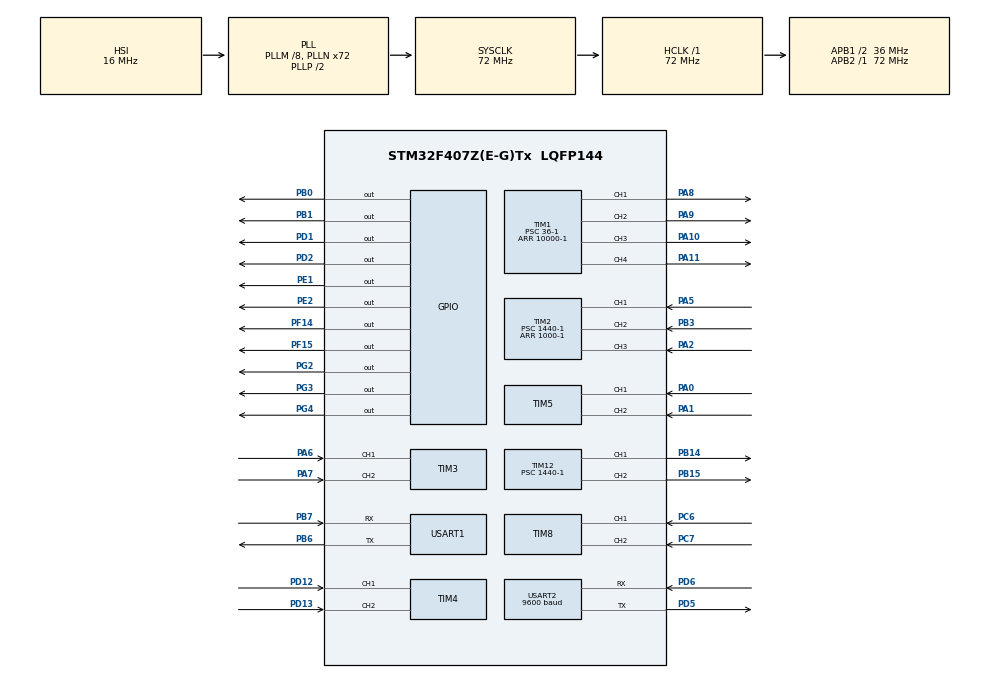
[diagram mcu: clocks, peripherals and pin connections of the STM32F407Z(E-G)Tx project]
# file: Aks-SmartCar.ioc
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Dma.Request0=USART1_RX
Dma.Request1=USART1_TX
Dma.Request2=USART2_RX
Dma.Request3=USART2_TX
Dma.USART1_RX.0.Direction=DMA_PERIPH_TO_MEMORY
Dma.USART1_RX.0.FIFOMode=DMA_FIFOMODE_DISABLE
Dma.USART1_RX.0.Instance=DMA2_Stream2
Dma.USART1_RX.0.MemDataAlignment=DMA_MDATAALIGN_BYTE
Dma.USART1_RX.0.MemInc=DMA_MINC_ENABLE
Dma.USART1_RX.0.Mode=DMA_NORMAL
Dma.USART1_RX.0.PeriphDataAlignment=DMA_PDATAALIGN_BYTE
Dma.USART1_RX.0.PeriphInc=DMA_PINC_DISABLE
Dma.USART1_RX.0.Priority=DMA_PRIORITY_LOW
Dma.USART1_TX.1.Direction=DMA_MEMORY_TO_PERIPH
Dma.USART1_TX.1.FIFOMode=DMA_FIFOMODE_DISABLE
Dma.USART1_TX.1.Instance=DMA2_Stream7
Dma.USART1_TX.1.MemDataAlignment=DMA_MDATAALIGN_BYTE
Dma.USART1_TX.1.MemInc=DMA_MINC_ENABLE
Dma.USART1_TX.1.Mode=DMA_NORMAL
Dma.USART1_TX.1.PeriphDataAlignment=DMA_PDATAALIGN_BYTE
Dma.USART1_TX.1.PeriphInc=DMA_PINC_DISABLE
Dma.USART1_TX.1.Priority=DMA_PRIORITY_LOW
Dma.USART2_RX.2.Direction=DMA_PERIPH_TO_MEMORY
Dma.USART2_RX.2.FIFOMode=DMA_FIFOMODE_DISABLE
Dma.USART2_RX.2.Instance=DMA1_Stream5
Dma.USART2_RX.2.MemDataAlignment=DMA_MDATAALIGN_BYTE
Dma.USART2_RX.2.MemInc=DMA_MINC_ENABLE
Dma.USART2_RX.2.Mode=DMA_NORMAL
Dma.USART2_RX.2.PeriphDataAlignment=DMA_PDATAALIGN_BYTE
Dma.USART2_RX.2.PeriphInc=DMA_PINC_DISABLE
Dma.USART2_RX.2.Priority=DMA_PRIORITY_LOW
Dma.USART2_TX.3.Direction=DMA_MEMORY_TO_PERIPH
Dma.USART2_TX.3.FIFOMode=DMA_FIFOMODE_DISABLE
Dma.USART2_TX.3.Instance=DMA1_Stream6
Dma.USART2_TX.3.MemDataAlignment=DMA_MDATAALIGN_BYTE
Dma.USART2_TX.3.MemInc=DMA_MINC_ENABLE
Dma.USART2_TX.3.Mode=DMA_NORMAL
Dma.USART2_TX.3.PeriphDataAlignment=DMA_PDATAALIGN_BYTE
Dma.USART2_TX.3.PeriphInc=DMA_PINC_DISABLE
Dma.USART2_TX.3.Priority=DMA_PRIORITY_LOW
Mcu.Family=STM32F4
Mcu.Name=STM32F407Z(E-G)Tx
Mcu.Package=LQFP144
NVIC.DMA1_Stream5_IRQn=true\:7\:0\:true\:false\:true\:false\:true\:true
NVIC.DMA1_Stream6_IRQn=true\:7\:0\:true\:false\:true\:false\:true\:true
NVIC.DMA2_Stream2_IRQn=true\:0\:0\:false\:false\:true\:false\:true\:true
NVIC.DMA2_Stream7_IRQn=true\:0\:0\:false\:false\:true\:false\:true\:true
NVIC.PriorityGroup=NVIC_PRIORITYGROUP_4
NVIC.TIM3_IRQn=true\:0\:0\:false\:false\:true\:true\:true\:true
NVIC.TIM7_IRQn=true\:1\:0\:true\:false\:true\:true\:true\:true
NVIC.USART1_IRQn=true\:0\:0\:false\:false\:true\:true\:true\:true
NVIC.USART2_IRQn=true\:7\:0\:true\:false\:true\:true\:true\:true
PA0-WKUP.Signal=S_TIM5_CH1
PA1.Signal=S_TIM5_CH2
PA10.Signal=S_TIM1_CH3
PA11.Signal=S_TIM1_CH4
PA13.Mode=Serial_Wire
PA13.Signal=SYS_JTMS-SWDIO
PA14.Mode=Serial_Wire
PA14.Signal=SYS_JTCK-SWCLK
PA2.Signal=S_TIM2_CH3
PA5.Signal=S_TIM2_CH1_ETR
PA6.Signal=S_TIM3_CH1
PA7.Signal=S_TIM3_CH2
PA8.Signal=S_TIM1_CH1
PA9.Signal=S_TIM1_CH2
PB0.Signal=GPIO_Output
PB1.Signal=GPIO_Output
PB14.Signal=S_TIM12_CH1
PB15.Signal=S_TIM12_CH2
PB3.Signal=S_TIM2_CH2
PB6.Mode=Asynchronous
PB6.Signal=USART1_TX
PB7.Mode=Asynchronous
PB7.Signal=USART1_RX
PC14-OSC32_IN.Mode=LSE-External-Oscillator
PC14-OSC32_IN.Signal=RCC_OSC32_IN
PC15-OSC32_OUT.Mode=LSE-External-Oscillator
PC15-OSC32_OUT.Signal=RCC_OSC32_OUT
PC6.Signal=S_TIM8_CH1
PC7.Signal=S_TIM8_CH2
PD1.Signal=GPIO_Output
PD12.Signal=S_TIM4_CH1
PD13.Signal=S_TIM4_CH2
PD2.Signal=GPIO_Output
PD5.Mode=Asynchronous
PD5.Signal=USART2_TX
PD6.Mode=Asynchronous
PD6.Signal=USART2_RX
PE1.Signal=GPIO_Output
PE2.Signal=GPIO_Output
PF14.Signal=GPIO_Output
PF15.Signal=GPIO_Output
PG2.Signal=GPIO_Output
PG3.Signal=GPIO_Output
PG4.Signal=GPIO_Output
PH0-OSC_IN.Mode=HSE-External-Oscillator
PH0-OSC_IN.Signal=RCC_OSC_IN
PH1-OSC_OUT.Mode=HSE-External-Oscillator
PH1-OSC_OUT.Signal=RCC_OSC_OUT
ProjectManager.HeapSize=0x200
ProjectManager.StackSize=0x400
ProjectManager.TargetToolchain=CMake
RCC.48MHZClocksFreq_Value=36000000
RCC.AHBFreq_Value=72000000
RCC.APB1CLKDivider=RCC_HCLK_DIV2
RCC.APB1Freq_Value=36000000
RCC.APB1TimFreq_Value=72000000
RCC.APB2Freq_Value=72000000
RCC.APB2TimFreq_Value=72000000
RCC.CortexFreq_Value=72000000
RCC.HCLKFreq_Value=72000000
RCC.HSE_VALUE=25000000
RCC.HSI_VALUE=16000000
RCC.PLLM=8
RCC.PLLN=72
RCC.SYSCLKFreq_VALUE=72000000
RCC.SYSCLKSource=RCC_SYSCLKSOURCE_PLLCLK
RCC.VCOOutputFreq_Value=144000000
SH.S_TIM12_CH1.0=TIM12_CH1,PWM Generation1 CH1
SH.S_TIM12_CH2.0=TIM12_CH2,PWM Generation2 CH2
SH.S_TIM1_CH1.0=TIM1_CH1,PWM Generation1 CH1
SH.S_TIM1_CH2.0=TIM1_CH2,PWM Generation2 CH2
SH.S_TIM1_CH3.0=TIM1_CH3,PWM Generation3 CH3
SH.S_TIM1_CH4.0=TIM1_CH4,PWM Generation4 CH4
SH.S_TIM2_CH1_ETR.0=TIM2_CH1,Input_Capture1_from_TI1
SH.S_TIM2_CH2.0=TIM2_CH2,Input_Capture2_from_TI2
SH.S_TIM2_CH3.0=TIM2_CH3,Input_Capture3_from_TI3
SH.S_TIM3_CH1.0=TIM3_CH1,Encoder_Interface
SH.S_TIM3_CH2.0=TIM3_CH2,Encoder_Interface
SH.S_TIM4_CH1.0=TIM4_CH1,Encoder_Interface
SH.S_TIM4_CH2.0=TIM4_CH2,Encoder_Interface
SH.S_TIM5_CH1.0=TIM5_CH1,Encoder_Interface
SH.S_TIM5_CH2.0=TIM5_CH2,Encoder_Interface
SH.S_TIM8_CH1.0=TIM8_CH1,Encoder_Interface
SH.S_TIM8_CH2.0=TIM8_CH2,Encoder_Interface
TIM1.Channel-PWM\ Generation1\ CH1=TIM_CHANNEL_1
TIM1.Channel-PWM\ Generation2\ CH2=TIM_CHANNEL_2
TIM1.Channel-PWM\ Generation3\ CH3=TIM_CHANNEL_3
TIM1.Channel-PWM\ Generation4\ CH4=TIM_CHANNEL_4
TIM1.Period=10000-1
TIM1.Prescaler=36-1
TIM12.Channel-PWM\ Generation1\ CH1=TIM_CHANNEL_1
TIM12.Channel-PWM\ Generation2\ CH2=TIM_CHANNEL_2
TIM12.Period=1000-1
TIM12.Prescaler=1440-1
TIM2.Channel-Input_Capture1_from_TI1=TIM_CHANNEL_1
TIM2.Channel-Input_Capture2_from_TI2=TIM_CHANNEL_2
TIM2.Channel-Input_Capture3_from_TI3=TIM_CHANNEL_3
TIM2.Period=1000-1
TIM2.Prescaler=1440-1
TIM3.EncoderMode=TIM_ENCODERMODE_TI12
TIM4.EncoderMode=TIM_ENCODERMODE_TI12
TIM5.EncoderMode=TIM_ENCODERMODE_TI12
TIM7.Period=10000-1
TIM7.Prescaler=360-1
TIM8.EncoderMode=TIM_ENCODERMODE_TI12
USART1.VirtualMode=VM_ASYNC
USART2.BaudRate=9600
USART2.VirtualMode=VM_ASYNC
VP_TIM1_VS_ClockSourceINT.Mode=Internal
VP_TIM2_VS_ClockSourceINT.Mode=Internal
VP_TIM7_VS_ClockSourceINT.Mode=Enable_Timer
board=custom

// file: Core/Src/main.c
/* USER CODE BEGIN Header */
/**
  ******************************************************************************
  * @file           : main.c
  * @brief          : Main program body
  ******************************************************************************
  * @attention
  *
  * Copyright (c) 2025 STMicroelectronics.
  * All rights reserved.
  *
  * This software is licensed under terms that can be found in the LICENSE file
  * in the root directory of this software component.
  * If no LICENSE file comes with this software, it is provided AS-IS.
  *
  ******************************************************************************
  */
/* USER CODE END Header */
#include "main.h"
#include "dma.h"
#include "tim.h"
#include "usart.h"
#include "gpio.h"

/* USER CODE BEGIN Includes */
#include <string.h>

#include "sonic.h"
# include "motor.h"
# include "servo.h"
# include "blue.h"
# include "control.h"
# include "fuzzy_control.h"

// TODO:终极目标是主函数中仅仅引入状态机，仅需要每20ms更新一次状态机即可
# include "state_machine.h"
/* USER CODE END Includes */

/* USER CODE BEGIN PV */
float left_front_target, right_front_target, left_back_target, right_back_target;
float left_front_speed, right_front_speed, left_back_speed, right_back_speed;
float left_back_feedback, right_back_feedback, left_front_feedback, right_front_feedback;
float left_back_error, right_back_error, left_front_error, right_front_error;
float x_error, y_error; // 纯跟踪算法的x轴偏差和y轴偏差

// variants used for testing
char msg[1024]; // 用于存储发送到蓝牙的数据
float FLP = 0.03f; // 将输入的偏差值转换为旋转角速度的参数
float LLP = 1.0f; // 将输入的偏差值转换为线速度的参数
char openmv_msg[100], blue_msg[100]; // 用于存储OpenMV和蓝牙消息
char blue_feedback_msg[100]; // 用于反馈信息

// 超声波测距相关变量
uint32_t upEdge = 0; // 存储上升沿时间
uint32_t downEdge = 0; // 存储下降沿时间
float distance = 0; // 计算得到的距离(cm)
uint8_t measurementComplete = 0; // 测量完成标志
uint8_t msg_sonic[5];
uint32_t lastTriggerTime = 0;
const uint32_t triggerInterval = 50; // 触发间隔(ms)

/* USER CODE END PV */

void SystemClock_Config(void);

int main(void) {
    /* USER CODE BEGIN 1 */
    // left_front_target = 200; // 设置前左电机目标速度
    /* USER CODE END 1 */

    /* MCU Configuration--------------------------------------------------------*/

    /* Reset of all peripherals, Initializes the Flash interface and the Systick. */
    HAL_Init();

    /* Configure the system clock */
    SystemClock_Config();

    /* Initialize all configured peripherals */
    MX_GPIO_Init();
    MX_DMA_Init();
    MX_TIM1_Init();
    MX_TIM2_Init();
    MX_TIM3_Init();
    MX_TIM4_Init();
    MX_TIM5_Init();
    MX_TIM12_Init();
    MX_USART1_UART_Init();
    MX_USART2_UART_Init();
    MX_TIM8_Init();
    MX_TIM7_Init();
    /* USER CODE BEGIN 2 */
    // Servo1_Init();
    // Servo2_Init();
    motor_init();

    //PID控制测试用电机
    // left_back_target = 0.0;
    // right_back_target = 0.0;
    // right_front_target = 0.0; // 设置前右电机目标速度
    // left_front_target = 0.0; // 设置前左电机目标速度

    // __HAL_TIM_SetCompare(&htim1, TIM_CHANNEL_1, 5000);
    // __HAL_TIM_SetCompare(&htim1, TIM_CHANNEL_2, 5000);
    // __HAL_TIM_SetCompare(&htim1, TIM_CHANNEL_3, 5000);
    // __HAL_TIM_SetCompare(&htim1, TIM_CHANNEL_4, 5000);

    // 前进
    // HAL_GPIO_WritePin(GPIOF, GPIO_PIN_14, GPIO_PIN_SET); // 设置PD3为高电平
    // HAL_GPIO_WritePin(GPIOF, GPIO_PIN_15, GPIO_PIN_RESET); // 设置PD4为低电平
    // HAL_GPIO_WritePin(GPIOD, GPIO_PIN_1, GPIO_PIN_SET); // 设置PD1为高电平
    // HAL_GPIO_WritePin(GPIOD, GPIO_PIN_2, GPIO_PIN_RESET); // 设置PD2为低电平
    // HAL_GPIO_WritePin(GPIOB, GPIO_PIN_0, GPIO_PIN_SET); // 设置PE3为高电平
    // HAL_GPIO_WritePin(GPIOB, GPIO_PIN_1, GPIO_PIN_RESET); // 设置PE4为低电平
    // HAL_GPIO_WritePin(GPIOE, GPIO_PIN_1, GPIO_PIN_SET); // 设置PE1为高电平
    // HAL_GPIO_WritePin(GPIOE, GPIO_PIN_2, GPIO_PIN_RESET);

    HAL_UARTEx_ReceiveToIdle_DMA(&huart1, (uint8_t *) openmv_msg, sizeof(openmv_msg));
    HAL_UARTEx_ReceiveToIdle_DMA(&huart2, (uint8_t *) blue_msg, sizeof(blue_msg));
    // motor_vel(600, 600, 600, 600); // 设置初始速度
    /* USER CODE END 2 */

    /* Infinite loop */
    /* USER CODE BEGIN WHILE */
    /* USER CODE END 3 */
    while (1) {
        /* USER CODE END WHILE */

        /* USER CODE BEGIN 3 */
        // motor_brake();
        // move_forward();
        // spin();
        // set_speed(600,0);

        // Servo_catch();
        // Servo_turnUp();
        // Servo_turnDown();
        // Servo_put();
    }
    /* USER CODE END 3 */
}

void SystemClock_Config(void) {
    RCC_OscInitTypeDef RCC_OscInitStruct = {0};
    RCC_ClkInitTypeDef RCC_ClkInitStruct = {0};

    /** Configure the main internal regulator output voltage
    */
    __HAL_RCC_PWR_CLK_ENABLE();
    __HAL_PWR_VOLTAGESCALING_CONFIG(PWR_REGULATOR_VOLTAGE_SCALE1);

    /** Initializes the RCC Oscillators according to the specified parameters
    * in the RCC_OscInitTypeDef structure.
    */
    RCC_OscInitStruct.OscillatorType = RCC_OSCILLATORTYPE_HSI;
    RCC_OscInitStruct.HSIState = RCC_HSI_ON;
    RCC_OscInitStruct.HSICalibrationValue = RCC_HSICALIBRATION_DEFAULT;
    RCC_OscInitStruct.PLL.PLLState = RCC_PLL_ON;
    RCC_OscInitStruct.PLL.PLLSource = RCC_PLLSOURCE_HSI;
    RCC_OscInitStruct.PLL.PLLM = 8;
    RCC_OscInitStruct.PLL.PLLN = 72;
    RCC_OscInitStruct.PLL.PLLP = RCC_PLLP_DIV2;
    RCC_OscInitStruct.PLL.PLLQ = 4;
    if (HAL_RCC_OscConfig(&RCC_OscInitStruct) != HAL_OK) {
        Error_Handler();
    }

    /** Initializes the CPU, AHB and APB buses clocks
    */
    RCC_ClkInitStruct.ClockType = RCC_CLOCKTYPE_HCLK | RCC_CLOCKTYPE_SYSCLK
                                  | RCC_CLOCKTYPE_PCLK1 | RCC_CLOCKTYPE_PCLK2;
    RCC_ClkInitStruct.SYSCLKSource = RCC_SYSCLKSOURCE_PLLCLK;
    RCC_ClkInitStruct.AHBCLKDivider = RCC_SYSCLK_DIV1;
    RCC_ClkInitStruct.APB1CLKDivider = RCC_HCLK_DIV2;
    RCC_ClkInitStruct.APB2CLKDivider = RCC_HCLK_DIV1;

    if (HAL_RCC_ClockConfig(&RCC_ClkInitStruct, FLASH_LATENCY_2) != HAL_OK) {
        Error_Handler();
    }
}

/* USER CODE BEGIN 4 */
void HAL_TIM_PeriodElapsedCallback(TIM_HandleTypeDef *htim) {
    if (htim == &htim7) {
        // 每50ms执行一次,注意如果更改这里,同时需要更改以下几个这个文件
        // motor.h 中的 read_period
        set_speed(x_error, 90);
        // set_speed(30, 30);
        motor_pid_control();

        // left_front_feedback = read_left_front_feedback();
        // right_front_feedback = read_right_front_feedback();
        // left_back_feedback = read_left_back_feedback();
        // right_back_feedback = read_right_back_feedback();
        // sprintf(msg, "LF:%.2f RF:%.2f LB:%.2f RB:%.2f",left_front_feedback, right_front_feedback, left_back_feedback, right_back_feedback);
        // HAL_UART_Transmit_DMA(&huart2, (uint8_t *) msg, strlen(msg));
    }
}

/* USER CODE END 4 */

void Error_Handler(void) {
    __disable_irq();
    while (1) {
    }
}
